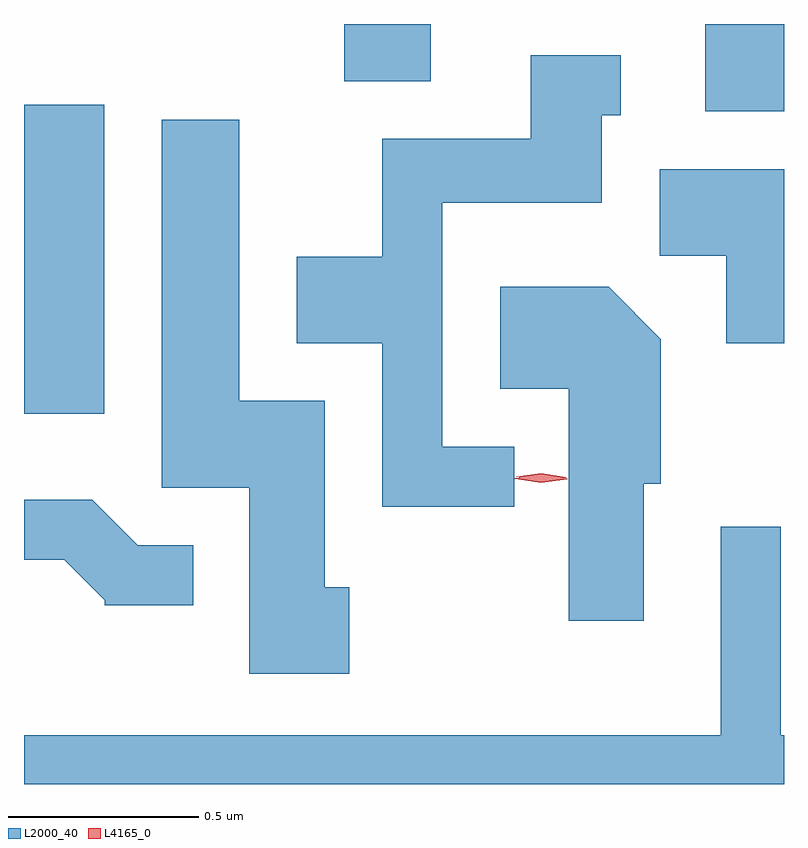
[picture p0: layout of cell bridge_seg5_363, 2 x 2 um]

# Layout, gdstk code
import gdstk
lib = gdstk.Library(unit=1e-6, precision=1e-09)
def R(c, l, rs):  # rectangles x0, y0, x1, y1
    for r in rs: c.add(gdstk.rectangle(r[:2], r[2:], *l))
def P(c, l, *ps):  # polygons
    for p in ps: c.add(gdstk.Polygon(p, *l))
L2000_40 = (2000, 40)
L4165_0 = (4165, 0)

bridge_seg5_363 = lib.new_cell('bridge_seg5_363')
R(bridge_seg5_363, L2000_40, [(788.428,1444.591,788.639,1445.404), (790.221,1445.386,790.428,1445.616), (789.271,1445.466,789.499,1445.616)])
P(bridge_seg5_363, L2000_40, [(789.718,1444.504),(789.529,1444.504),(789.529,1445.146),(789.949,1445.146),(789.949,1445.376),(789.998,1445.376),(789.998,1445.534),(789.761,1445.534),(789.761,1445.314),(789.371,1445.314),(789.371,1445.004),(789.146,1445.004),(789.146,1444.776),(789.371,1444.776),(789.371,1444.346),(789.718,1444.346)],
  [(789.284,1444.134),(789.219,1444.134),(789.219,1444.624),(788.994,1444.624),(788.994,1445.364),(788.791,1445.364),(788.791,1444.396),(789.021,1444.396),(789.021,1443.906),(789.284,1443.906)],
  [(790.428,1445.234),(790.101,1445.234),(790.101,1445.006),(790.276,1445.006),(790.276,1444.776),(790.428,1444.776)],
  [(790.059,1444.406),(790.104,1444.406),(790.104,1444.787),(789.967,1444.924),(789.681,1444.924),(789.681,1444.656),(789.861,1444.656),(789.861,1444.046),(790.059,1444.046)],
  [(788.873,1444.244),(788.727,1444.244),(788.607,1444.364),(788.428,1444.364),(788.428,1444.206),(788.534,1444.206),(788.64,1444.1),(788.64,1444.086),(788.873,1444.086)],
  [(790.428,1443.744),(790.419,1443.744),(790.419,1444.293),(790.261,1444.293),(790.261,1443.744),(788.428,1443.744),(788.428,1443.616),(790.428,1443.616)])
P(bridge_seg5_363, L4165_0, [(789.788,1444.414),(789.723,1444.424),(789.722,1444.425),(789.723,1444.425),(789.789,1444.434),(789.854,1444.423),(789.855,1444.422),(789.854,1444.422)],
  [(789.788,1444.409),(789.719,1444.419),(789.719,1444.42),(789.719,1444.42),(789.788,1444.429),(789.857,1444.419),(789.857,1444.418),(789.857,1444.418)])

lib.write_gds('bridge_seg5_363.gds')
